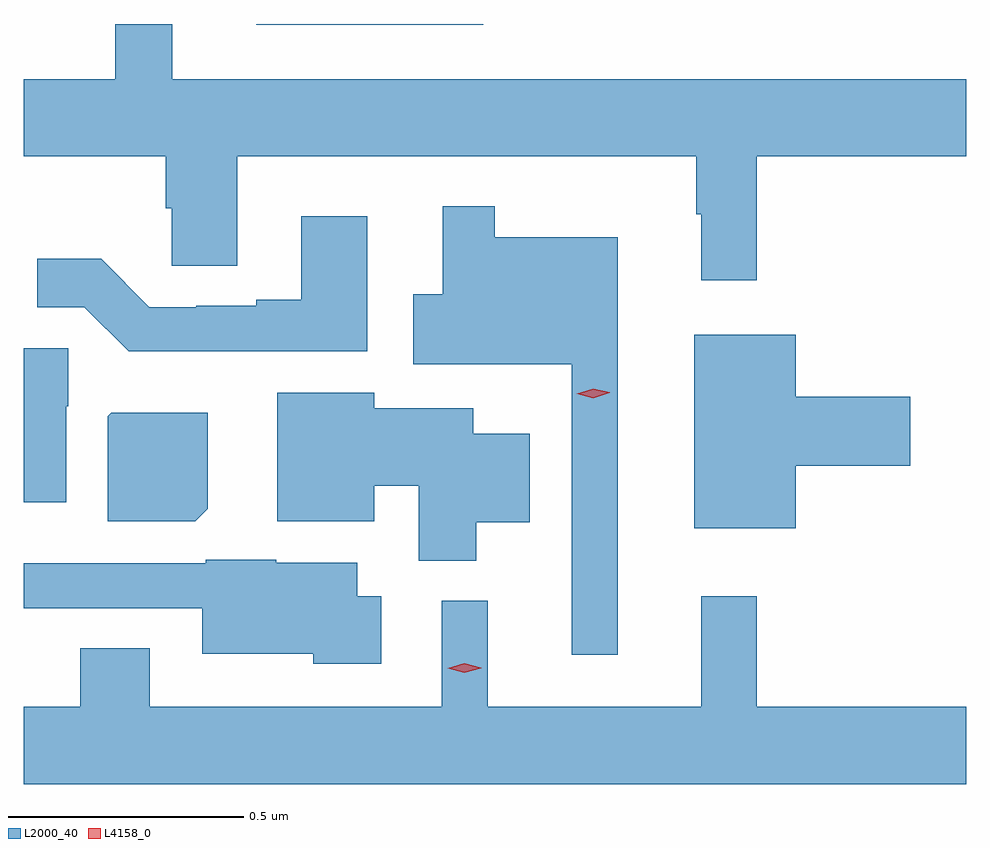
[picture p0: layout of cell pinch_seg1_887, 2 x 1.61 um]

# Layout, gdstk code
import gdstk
lib = gdstk.Library(unit=1e-6, precision=1e-09)
def R(c, l, rs):  # rectangles x0, y0, x1, y1
    for r in rs: c.add(gdstk.rectangle(r[:2], r[2:], *l))
def P(c, l, *ps):  # polygons
    for p in ps: c.add(gdstk.Polygon(p, *l))
L2000_40 = (2000, 40)
L4158_0 = (4158, 0)

pinch_seg1_887 = lib.new_cell('pinch_seg1_887')
R(pinch_seg1_887, L2000_40, [(485.135,514.715,485.617,514.717)])
P(pinch_seg1_887, L2000_40, [(486.197,514.436),(486.642,514.436),(486.642,514.6),(484.957,514.6),(484.957,514.717),(484.836,514.717),(484.836,514.6),(484.642,514.6),(484.642,514.436),(484.943,514.436),(484.943,514.326),(484.956,514.326),(484.956,514.204),(485.095,514.204),(485.095,514.436),(486.069,514.436),(486.069,514.313),(486.08,514.313),(486.08,514.173),(486.197,514.173)],
  [(485.902,514.264),(485.641,514.264),(485.641,514.33),(485.531,514.33),(485.531,514.143),(485.468,514.143),(485.468,513.995),(485.805,513.995),(485.805,513.378),(485.902,513.378)],
  [(485.371,514.309),(485.231,514.309),(485.231,514.132),(485.135,514.132),(485.135,514.119),(485.008,514.119),(485.008,514.116),(484.908,514.116),(484.806,514.219),(484.671,514.219),(484.671,514.116),(484.77,514.116),(484.865,514.022),(485.371,514.022)],
  [(486.28,513.779),(486.523,513.779),(486.523,513.926),(486.28,513.926),(486.28,514.057),(486.065,514.057),(486.065,513.647),(486.28,513.647)],
  [(484.732,513.906),(484.736,513.906),(484.736,514.029),(484.642,514.029),(484.642,513.702),(484.732,513.702)],
  [(485.602,513.659),(485.716,513.659),(485.716,513.847),(485.596,513.847),(485.596,513.901),(485.386,513.901),(485.386,513.934),(485.18,513.934),(485.18,513.662),(485.386,513.662),(485.386,513.737),(485.48,513.737),(485.48,513.578),(485.602,513.578)],
  [(485.032,513.688),(485.032,513.892),(484.828,513.892),(484.82,513.884),(484.82,513.662),(485.006,513.662)],
  [(485.401,513.502),(485.35,513.502),(485.35,513.574),(485.178,513.574),(485.178,513.58),(485.028,513.58),(485.028,513.573),(484.642,513.573),(484.642,513.477),(485.021,513.477),(485.021,513.38),(485.256,513.38),(485.256,513.359),(485.401,513.359)],
  [(486.642,513.268),(486.197,513.268),(486.197,513.502),(486.08,513.502),(486.08,513.268),(485.627,513.268),(485.627,513.493),(485.529,513.493),(485.529,513.268),(484.909,513.268),(484.909,513.392),(484.762,513.392),(484.762,513.268),(484.642,513.268),(484.642,513.104),(486.642,513.104)])
P(pinch_seg1_887, L4158_0, [(485.577,513.34),(485.542,513.35),(485.542,513.35),(485.542,513.35),(485.577,513.36),(485.613,513.351),(485.613,513.351),(485.613,513.35)],
  [(485.851,513.923),(485.816,513.932),(485.815,513.932),(485.816,513.932),(485.851,513.943),(485.886,513.935),(485.886,513.934),(485.886,513.934)])

lib.write_gds('pinch_seg1_887.gds')
